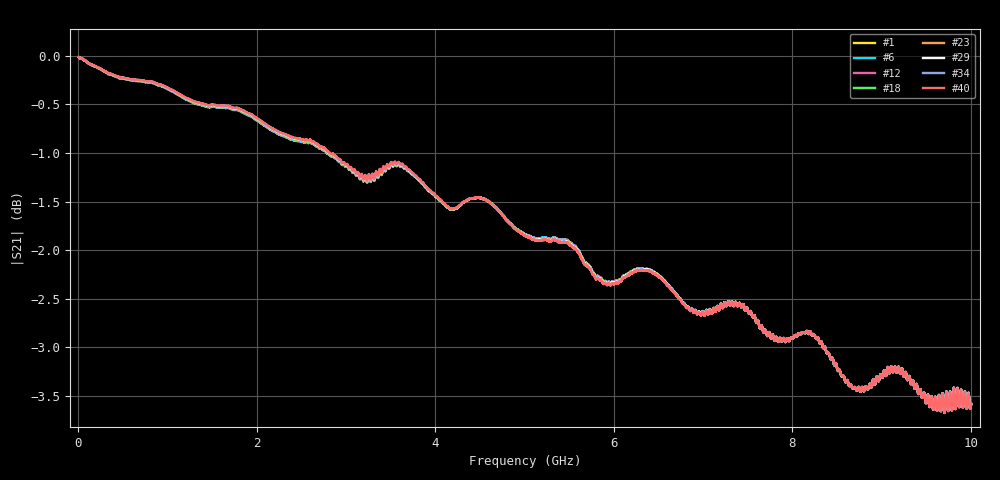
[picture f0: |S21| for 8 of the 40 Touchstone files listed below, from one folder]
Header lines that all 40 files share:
!Keysight Technologies,E5080B,MY59205177,A.15.75.32
!Correction: S11(Cdelta 2-Port  )
!S21(Cdelta 2-Port  )
!S12(Cdelta 2-Port  )
!S22(Cdelta 2-Port  )
!S2P File: Measurements: S11, S21, S12, S22:
# Hz S  dB  R 50
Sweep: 10 MHz to 10 GHz
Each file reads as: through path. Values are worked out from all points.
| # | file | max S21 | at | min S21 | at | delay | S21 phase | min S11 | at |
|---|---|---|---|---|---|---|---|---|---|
| 1 | 41.s2p | -0.02 dB | 14 MHz | -3.7 dB | 9.701 GHz | 565 ps | 80 deg at 5.005 GHz | -53.9 dB | 3.633 GHz |
| 2 | 42.s2p | -0.02 dB | 14 MHz | -3.7 dB | 9.701 GHz | 565 ps | 80 deg at 5.005 GHz | -53.8 dB | 3.633 GHz |
| 3 | 43.s2p | -0.02 dB | 10 MHz | -3.7 dB | 9.701 GHz | 565 ps | 80 deg at 5.005 GHz | -53.5 dB | 3.632 GHz |
| 4 | 44.s2p | -0.02 dB | 10 MHz | -3.7 dB | 9.701 GHz | 565 ps | 80 deg at 5.005 GHz | -54.0 dB | 3.632 GHz |
| 5 | 45.s2p | -0.02 dB | 14 MHz | -3.7 dB | 9.701 GHz | 565 ps | 80 deg at 5.005 GHz | -53.8 dB | 3.632 GHz |
| 6 | 46.s2p | -0.02 dB | 14 MHz | -3.7 dB | 9.701 GHz | 565 ps | 80 deg at 5.005 GHz | -53.7 dB | 3.632 GHz |
| 7 | 47.s2p | -0.02 dB | 14 MHz | -3.7 dB | 9.701 GHz | 565 ps | 80 deg at 5.005 GHz | -53.8 dB | 3.633 GHz |
| 8 | 48.s2p | -0.02 dB | 14 MHz | -3.7 dB | 9.701 GHz | 565 ps | 80 deg at 5.005 GHz | -54.1 dB | 3.632 GHz |
| 9 | 49.s2p | -0.02 dB | 14 MHz | -3.7 dB | 9.701 GHz | 565 ps | 80 deg at 5.005 GHz | -54.0 dB | 1.801 GHz |
| 10 | 50.s2p | -0.02 dB | 14 MHz | -3.7 dB | 9.701 GHz | 565 ps | 80 deg at 5.005 GHz | -53.9 dB | 1.801 GHz |
| 11 | 51.s2p | -0.02 dB | 10 MHz | -3.7 dB | 9.701 GHz | 565 ps | 80 deg at 5.005 GHz | -54.2 dB | 1.801 GHz |
| 12 | 52.s2p | -0.02 dB | 14 MHz | -3.7 dB | 9.701 GHz | 565 ps | 80 deg at 5.005 GHz | -54.6 dB | 1.801 GHz |
| 13 | 53.s2p | -0.01 dB | 14 MHz | -3.7 dB | 9.701 GHz | 565 ps | 80 deg at 5.005 GHz | -54.7 dB | 1.801 GHz |
| 14 | 54.s2p | -0.02 dB | 14 MHz | -3.7 dB | 9.701 GHz | 565 ps | 80 deg at 5.005 GHz | -54.8 dB | 1.801 GHz |
| 15 | 55.s2p | -0.02 dB | 10 MHz | -3.7 dB | 9.701 GHz | 565 ps | 80 deg at 5.005 GHz | -55.0 dB | 1.801 GHz |
| 16 | 56.s2p | -0.02 dB | 14 MHz | -3.7 dB | 9.701 GHz | 565 ps | 80 deg at 5.005 GHz | -55.4 dB | 1.801 GHz |
| 17 | 57.s2p | -0.01 dB | 14 MHz | -3.7 dB | 9.702 GHz | 565 ps | 80 deg at 5.005 GHz | -55.7 dB | 1.801 GHz |
| 18 | 58.s2p | -0.01 dB | 14 MHz | -3.7 dB | 9.701 GHz | 565 ps | 80 deg at 5.005 GHz | -55.8 dB | 1.801 GHz |
| 19 | 59.s2p | -0.02 dB | 10 MHz | -3.7 dB | 9.701 GHz | 565 ps | 80 deg at 5.005 GHz | -55.9 dB | 1.801 GHz |
| 20 | 60.s2p | -0.02 dB | 14 MHz | -3.7 dB | 9.701 GHz | 565 ps | 80 deg at 5.005 GHz | -56.5 dB | 1.801 GHz |
| 21 | 61.s2p | -0.02 dB | 10 MHz | -3.7 dB | 9.701 GHz | 565 ps | 80 deg at 5.005 GHz | -56.8 dB | 1.801 GHz |
| 22 | 62.s2p | -0.01 dB | 10 MHz | -3.7 dB | 9.701 GHz | 565 ps | 80 deg at 5.005 GHz | -57.2 dB | 1.801 GHz |
| 23 | 63.s2p | -0.01 dB | 14 MHz | -3.7 dB | 9.701 GHz | 565 ps | 80 deg at 5.005 GHz | -57.4 dB | 1.801 GHz |
| 24 | 64.s2p | -0.01 dB | 14 MHz | -3.7 dB | 9.701 GHz | 565 ps | 80 deg at 5.005 GHz | -57.7 dB | 1.801 GHz |
| 25 | 65.s2p | -0.02 dB | 14 MHz | -3.7 dB | 9.701 GHz | 565 ps | 80 deg at 5.005 GHz | -57.7 dB | 1.801 GHz |
| 26 | 66.s2p | -0.02 dB | 14 MHz | -3.7 dB | 9.702 GHz | 565 ps | 80 deg at 5.005 GHz | -58.3 dB | 1.801 GHz |
| 27 | 67.s2p | -0.01 dB | 10 MHz | -3.7 dB | 9.701 GHz | 565 ps | 80 deg at 5.005 GHz | -58.7 dB | 1.801 GHz |
| 28 | 68.s2p | -0.01 dB | 10 MHz | -3.7 dB | 9.701 GHz | 565 ps | 80 deg at 5.005 GHz | -58.8 dB | 1.801 GHz |
| 29 | 69.s2p | -0.02 dB | 10 MHz | -3.7 dB | 9.701 GHz | 565 ps | 80 deg at 5.005 GHz | -59.2 dB | 1.801 GHz |
| 30 | 70.s2p | -0.01 dB | 10 MHz | -3.7 dB | 9.701 GHz | 565 ps | 80 deg at 5.005 GHz | -59.1 dB | 1.801 GHz |
| 31 | 71.s2p | -0.01 dB | 14 MHz | -3.7 dB | 9.701 GHz | 565 ps | 80 deg at 5.005 GHz | -59.4 dB | 1.801 GHz |
| 32 | 72.s2p | -0.02 dB | 10 MHz | -3.7 dB | 9.701 GHz | 565 ps | 80 deg at 5.005 GHz | -59.8 dB | 1.801 GHz |
| 33 | 73.s2p | -0.01 dB | 10 MHz | -3.7 dB | 9.701 GHz | 565 ps | 80 deg at 5.005 GHz | -59.9 dB | 1.801 GHz |
| 34 | 74.s2p | -0.01 dB | 14 MHz | -3.7 dB | 9.701 GHz | 565 ps | 80 deg at 5.005 GHz | -60.1 dB | 1.801 GHz |
| 35 | 75.s2p | -0.01 dB | 10 MHz | -3.7 dB | 9.701 GHz | 565 ps | 80 deg at 5.005 GHz | -60.5 dB | 1.801 GHz |
| 36 | 76.s2p | -0.01 dB | 14 MHz | -3.7 dB | 9.701 GHz | 565 ps | 80 deg at 5.005 GHz | -61.1 dB | 1.801 GHz |
| 37 | 77.s2p | -0.02 dB | 14 MHz | -3.7 dB | 9.701 GHz | 565 ps | 80 deg at 5.005 GHz | -61.1 dB | 1.8 GHz |
| 38 | 78.s2p | -0.01 dB | 14 MHz | -3.7 dB | 9.701 GHz | 565 ps | 80 deg at 5.005 GHz | -61.5 dB | 1.801 GHz |
| 39 | 79.s2p | -0.02 dB | 14 MHz | -3.7 dB | 9.701 GHz | 565 ps | 80 deg at 5.005 GHz | -61.9 dB | 1.8 GHz |
| 40 | 80.s2p | -0.02 dB | 10 MHz | -3.7 dB | 9.701 GHz | 565 ps | 80 deg at 5.005 GHz | -62.5 dB | 1.8 GHz |
